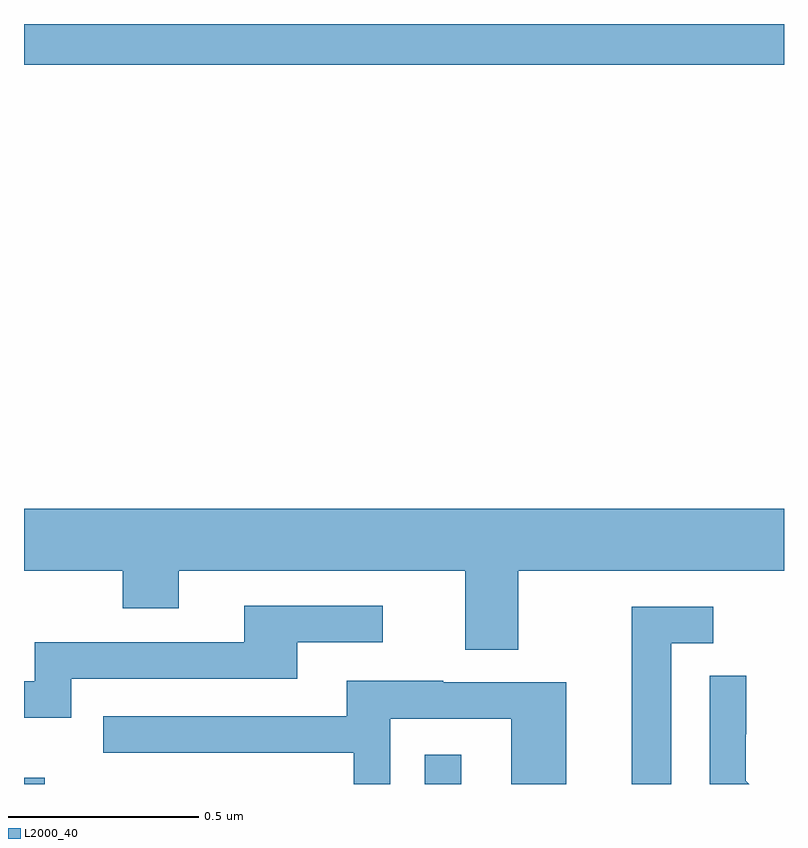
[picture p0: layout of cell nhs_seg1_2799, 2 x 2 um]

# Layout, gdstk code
import gdstk
lib = gdstk.Library(unit=1e-6, precision=1e-09)
def R(c, l, rs):  # rectangles x0, y0, x1, y1
    for r in rs: c.add(gdstk.rectangle(r[:2], r[2:], *l))
def P(c, l, *ps):  # polygons
    for p in ps: c.add(gdstk.Polygon(p, *l))
L2000_40 = (2000, 40)

nhs_seg1_2799 = lib.new_cell('nhs_seg1_2799')
R(nhs_seg1_2799, L2000_40, [(146,523.199,146.054,523.216), (147.054,523.199,147.151,523.276), (146,525.092,148,525.199)])
P(nhs_seg1_2799, L2000_40, [(147.301,523.76),(148,523.76),(148,523.924),(146,523.924),(146,523.76),(146.26,523.76),(146.26,523.661),(146.407,523.661),(146.407,523.76),(147.161,523.76),(147.161,523.552),(147.301,523.552)],
  [(146.124,523.476),(146.719,523.476),(146.719,523.572),(146.944,523.572),(146.944,523.668),(146.579,523.668),(146.579,523.572),(146.028,523.572),(146.028,523.47),(146,523.47),(146,523.373),(146.124,523.373)],
  [(147.703,523.569),(147.814,523.569),(147.814,523.665),(147.599,523.665),(147.599,523.199),(147.703,523.199)],
  [(147.899,523.208),(147.899,523.33),(147.9,523.33),(147.9,523.484),(147.804,523.484),(147.804,523.199),(147.908,523.199)],
  [(146.964,523.371),(147.282,523.371),(147.282,523.199),(147.427,523.199),(147.427,523.467),(147.103,523.467),(147.103,523.471),(146.849,523.471),(146.849,523.377),(146.209,523.377),(146.209,523.281),(146.868,523.281),(146.868,523.199),(146.964,523.199)])

lib.write_gds('nhs_seg1_2799.gds')
